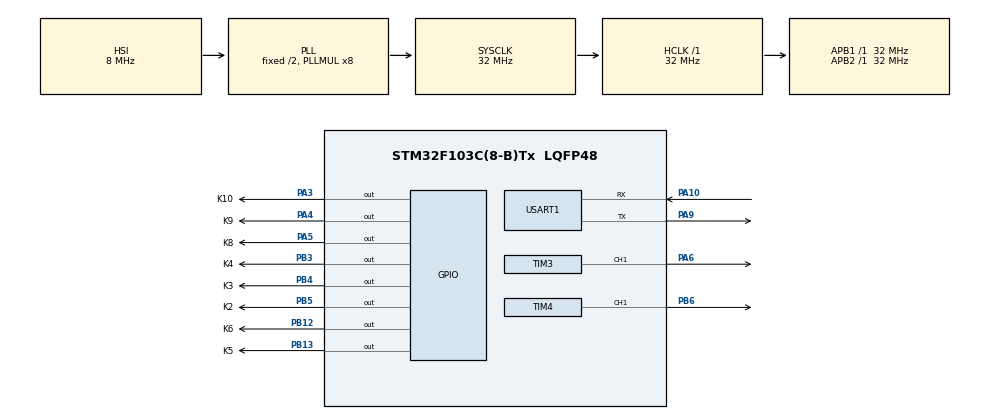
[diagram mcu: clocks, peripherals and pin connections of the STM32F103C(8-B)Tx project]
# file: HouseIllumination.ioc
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Mcu.Family=STM32F1
Mcu.Name=STM32F103C(8-B)Tx
Mcu.Package=LQFP48
NVIC.PriorityGroup=NVIC_PRIORITYGROUP_4
NVIC.RTC_IRQn=true\:0\:0\:false\:false\:true\:true
NVIC.TIM2_IRQn=true\:0\:0\:false\:false\:true\:true
NVIC.USART1_IRQn=true\:0\:0\:false\:false\:true\:true
PA10.Mode=Asynchronous
PA10.Signal=USART1_RX
PA13.Mode=Serial_Wire
PA13.Signal=SYS_JTMS-SWDIO
PA14.Mode=Serial_Wire
PA14.Signal=SYS_JTCK-SWCLK
PA3.GPIO_Label=K10
PA3.Signal=GPIO_Output
PA4.GPIO_Label=K9
PA4.Signal=GPIO_Output
PA5.GPIO_Label=K8
PA5.Signal=GPIO_Output
PA6.Signal=S_TIM3_CH1
PA9.Mode=Asynchronous
PA9.Signal=USART1_TX
PB12.GPIO_Label=K6
PB12.Signal=GPIO_Output
PB13.GPIO_Label=K5
PB13.Signal=GPIO_Output
PB3.GPIO_Label=K4
PB3.Signal=GPIO_Output
PB4.GPIO_Label=K3
PB4.Signal=GPIO_Output
PB5.GPIO_Label=K2
PB5.Signal=GPIO_Output
PB6.Signal=S_TIM4_CH1
PC14-OSC32_IN.Mode=LSE-External-Oscillator
PC14-OSC32_IN.Signal=RCC_OSC32_IN
PC15-OSC32_OUT.Mode=LSE-External-Oscillator
PC15-OSC32_OUT.Signal=RCC_OSC32_OUT
ProjectManager.HeapSize=0x200
ProjectManager.StackSize=0x400
ProjectManager.TargetToolchain=TrueSTUDIO
RCC.AHBFreq_Value=32000000
RCC.APB1Freq_Value=32000000
RCC.APB1TimFreq_Value=32000000
RCC.APB2Freq_Value=32000000
RCC.APB2TimFreq_Value=32000000
RCC.HCLKFreq_Value=32000000
RCC.PLLMUL=RCC_PLL_MUL8
RCC.RTCClockSelection=RCC_RTCCLKSOURCE_LSE
RCC.SYSCLKFreq_VALUE=32000000
RCC.SYSCLKSource=RCC_SYSCLKSOURCE_PLLCLK
RCC.USBFreq_Value=32000000
RTC.AutoPrediv=RTC_AUTO_1_SECOND
SH.S_TIM3_CH1.0=TIM3_CH1,PWM Generation1 CH1
SH.S_TIM4_CH1.0=TIM4_CH1,PWM Generation1 CH1
TIM2.Period=3199
TIM2.Prescaler=999
TIM3.Channel-PWM\ Generation1\ CH1=TIM_CHANNEL_1
TIM3.Period=319
TIM3.Prescaler=999
TIM3.Pulse-PWM\ Generation1\ CH1=159
TIM4.Channel-PWM\ Generation1\ CH1=TIM_CHANNEL_1
TIM4.OCPolarity_1=TIM_OCPOLARITY_HIGH
TIM4.Period=319
TIM4.Prescaler=999
TIM4.Pulse-PWM\ Generation1\ CH1=159
USART1.VirtualMode=VM_ASYNC
VP_RTC_VS_RTC_Activate.Mode=RTC_Enabled
VP_TIM2_VS_ClockSourceINT.Mode=Internal
VP_TIM3_VS_ClockSourceINT.Mode=Internal
VP_TIM4_VS_ClockSourceINT.Mode=Internal
board=HouseIllumination

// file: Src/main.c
/**
  ******************************************************************************
  * File Name          : main.c
  * Description        : Main program body
  ******************************************************************************
  ** This notice applies to any and all portions of this file
  * that are not between comment pairs USER CODE BEGIN and
  * USER CODE END. Other portions of this file, whether
  * inserted by the user or by software development tools
  * are owned by their respective copyright owners.
  *
  * COPYRIGHT(c) 2018 STMicroelectronics
  *
  * Redistribution and use in source and binary forms, with or without modification,
  * are permitted provided that the following conditions are met:
  *   1. Redistributions of source code must retain the above copyright notice,
  *      this list of conditions and the following disclaimer.
  *   2. Redistributions in binary form must reproduce the above copyright notice,
  *      this list of conditions and the following disclaimer in the documentation
  *      and/or other materials provided with the distribution.
  *   3. Neither the name of STMicroelectronics nor the names of its contributors
  *      may be used to endorse or promote products derived from this software
  *      without specific prior written permission.
  *
  * THIS SOFTWARE IS PROVIDED BY THE COPYRIGHT HOLDERS AND CONTRIBUTORS "AS IS"
  * AND ANY EXPRESS OR IMPLIED WARRANTIES, INCLUDING, BUT NOT LIMITED TO, THE
  * IMPLIED WARRANTIES OF MERCHANTABILITY AND FITNESS FOR A PARTICULAR PURPOSE ARE
  * DISCLAIMED. IN NO EVENT SHALL THE COPYRIGHT HOLDER OR CONTRIBUTORS BE LIABLE
  * FOR ANY DIRECT, INDIRECT, INCIDENTAL, SPECIAL, EXEMPLARY, OR CONSEQUENTIAL
  * DAMAGES (INCLUDING, BUT NOT LIMITED TO, PROCUREMENT OF SUBSTITUTE GOODS OR
  * SERVICES; LOSS OF USE, DATA, OR PROFITS; OR BUSINESS INTERRUPTION) HOWEVER
  * CAUSED AND ON ANY THEORY OF LIABILITY, WHETHER IN CONTRACT, STRICT LIABILITY,
  * OR TORT (INCLUDING NEGLIGENCE OR OTHERWISE) ARISING IN ANY WAY OUT OF THE USE
  * OF THIS SOFTWARE, EVEN IF ADVISED OF THE POSSIBILITY OF SUCH DAMAGE.
  *
  ******************************************************************************
  */

#include "main.h"
#include "stm32f1xx_hal.h"

/* USER CODE BEGIN Includes */
#include "stm32f1xx_hal_tim.h"
#include "stm32f1xx_hal_rtc.h"
#include "stm32f1xx_hal_uart.h"
/* USER CODE END Includes */

RTC_HandleTypeDef hrtc;

TIM_HandleTypeDef htim2;
TIM_HandleTypeDef htim3;
TIM_HandleTypeDef htim4;

UART_HandleTypeDef huart1;

/* USER CODE BEGIN PV */
/* Private variables ---------------------------------------------------------*/
int16_t PWM_pos1 = 160;
int16_t PWM_pos2 = 160;
int16_t PWM_inc1 = 20;
int16_t PWM_inc2 = -20;
uint8_t white_counter = 0;
uint8_t R_ON = 1;
uint8_t W_ON = 1;
/* USER CODE END PV */

void SystemClock_Config(void);
static void MX_GPIO_Init(void);
static void MX_USART1_UART_Init(void);
static void MX_RTC_Init(void);
static void MX_TIM2_Init(void);
static void MX_TIM3_Init(void);
static void MX_TIM4_Init(void);

void HAL_TIM_MspPostInit(TIM_HandleTypeDef *htim);

/* USER CODE BEGIN PFP */
/* Private function prototypes -----------------------------------------------*/

/* USER CODE END PFP */

/* USER CODE BEGIN 0 */

void HandleUARTCommand(char * CMD_String, int String_Length)
{
	HAL_UART_Transmit(&huart1, (uint8_t *)CMD_String, String_Length, 100);

	switch (CMD_String[0])
	{
		case 'y':
			if (CMD_String[1]=='0'){
				HAL_GPIO_WritePin(K3_GPIO_Port, K3_Pin, RESET);
				HAL_GPIO_WritePin(K5_GPIO_Port, K5_Pin, RESET);	//yellow
				HAL_GPIO_WritePin(K6_GPIO_Port, K6_Pin, RESET);
				HAL_GPIO_WritePin(K8_GPIO_Port, K8_Pin, RESET);
				__HAL_RTC_SECOND_DISABLE_IT(&hrtc, RTC_IT_SEC);
			}
			else{
				HAL_GPIO_TogglePin(K3_GPIO_Port,K3_Pin); //Yellow light on one side - ON
				HAL_GPIO_TogglePin(K5_GPIO_Port,K5_Pin);
				__HAL_RTC_SECOND_ENABLE_IT(&hrtc, RTC_IT_SEC);
			}
			break;

		case 'r':
			if (CMD_String[1]=='0'){
				HAL_TIM_PWM_Stop(&htim3,TIM_CHANNEL_1);
				HAL_TIM_PWM_Stop(&htim4,TIM_CHANNEL_1);
				R_ON = 0;
			}
			else{
				HAL_TIM_PWM_Start(&htim3,TIM_CHANNEL_1);
				HAL_TIM_PWM_Start(&htim4,TIM_CHANNEL_1);
				R_ON = 1;
			}
			break;

		case 'w':
			if (CMD_String[1]=='0'){
				W_ON = 0;
				HAL_GPIO_WritePin(K2_GPIO_Port,K2_Pin,RESET);
				HAL_GPIO_WritePin(K4_GPIO_Port,K4_Pin,RESET);
				HAL_GPIO_WritePin(K9_GPIO_Port,K9_Pin,RESET);
				HAL_GPIO_WritePin(K10_GPIO_Port,K10_Pin,RESET);
			}
			else{
				W_ON = 1;
			}
			break;

		default:
			break;
	}
}

/*K1 //red left
K2 //white left
K3 //yellow left1
K4 //white back
K5 //yellow left2
K6 //yellow right2
K7 //red right
K8 //yellow right1
K9 //white right
K10 //white front*/

void HAL_RTCEx_RTCEventCallback(RTC_HandleTypeDef *hrtc)
{
	HAL_GPIO_TogglePin(K3_GPIO_Port,K3_Pin);
	HAL_GPIO_TogglePin(K5_GPIO_Port,K5_Pin);	//yellow
	HAL_GPIO_TogglePin(K6_GPIO_Port,K6_Pin);
	HAL_GPIO_TogglePin(K8_GPIO_Port,K8_Pin);
}

void HAL_TIM_PeriodElapsedCallback(TIM_HandleTypeDef *htim)
{
	if (R_ON==1)
	{
		PWM_pos1 += PWM_inc1;
		if (PWM_pos1 > 320)
		{
			PWM_pos1 = 320;
			PWM_inc1 *= -1;
		}
		else if (PWM_pos1 <= 0)
		{
			PWM_pos1 = 1;
			PWM_inc1 *= -1;
		}

		PWM_pos2 += PWM_inc2;
		if (PWM_pos2 > 320)
		{
			PWM_pos2 = 320;
			PWM_inc2 *= -1;
		}
		else if (PWM_pos2 <= 0)
		{
			PWM_pos2 = 1;
			PWM_inc2 *= -1;
		}

		__HAL_TIM_SET_COMPARE(&htim3, TIM_CHANNEL_1, PWM_pos1 - 1);
		__HAL_TIM_SET_COMPARE(&htim4, TIM_CHANNEL_1, PWM_pos2 - 1);
	}

	if (htim->Instance==TIM2 && W_ON==1)
	{
		switch (white_counter)
		{
		case 0:
			HAL_GPIO_WritePin(K2_GPIO_Port,K2_Pin,SET);	//white left
			white_counter++;
			break;
		case 1:
			HAL_GPIO_WritePin(K2_GPIO_Port,K2_Pin,RESET);
			HAL_GPIO_WritePin(K4_GPIO_Port,K4_Pin,SET);	//white back
			white_counter++;
			break;
		case 2:
			HAL_GPIO_WritePin(K4_GPIO_Port,K4_Pin,RESET);
			HAL_GPIO_WritePin(K9_GPIO_Port,K9_Pin,SET);	//white right
			white_counter++;
			break;
		case 3:
			HAL_GPIO_WritePin(K9_GPIO_Port,K9_Pin,RESET);
			HAL_GPIO_WritePin(K10_GPIO_Port,K10_Pin,SET);	//white front
			white_counter++;
			break;
		default:
			HAL_GPIO_WritePin(K10_GPIO_Port,K10_Pin,RESET);
			white_counter = 0;
			break;
		}
	}
}
/* USER CODE END 0 */

int main(void)
{

  /* MCU Configuration----------------------------------------------------------*/

  /* Reset of all peripherals, Initializes the Flash interface and the Systick. */
  HAL_Init();

  /* Configure the system clock */
  SystemClock_Config();

  /* Initialize all configured peripherals */
  MX_GPIO_Init();
  MX_USART1_UART_Init();
  MX_RTC_Init();
  MX_TIM2_Init();
  MX_TIM3_Init();
  MX_TIM4_Init();

  /* USER CODE BEGIN 2 */
  HAL_TIM_Base_Start_IT(&htim2);
  HAL_TIM_PWM_Start(&htim3,TIM_CHANNEL_1);
  HAL_TIM_PWM_Start(&htim4,TIM_CHANNEL_1);
  __HAL_RTC_SECOND_ENABLE_IT(&hrtc, RTC_IT_SEC);
  __HAL_UART_ENABLE_IT(&huart1, UART_IT_RXNE);

  HAL_GPIO_TogglePin(K3_GPIO_Port,K3_Pin); //Yellow light on one side - ON
  HAL_GPIO_TogglePin(K5_GPIO_Port,K5_Pin);
  /* USER CODE END 2 */

  /* Infinite loop */
  while (1)
  {

  }

}

/** System Clock Configuration
*/
void SystemClock_Config(void)
{

  RCC_OscInitTypeDef RCC_OscInitStruct;
  RCC_ClkInitTypeDef RCC_ClkInitStruct;
  RCC_PeriphCLKInitTypeDef PeriphClkInit;

    /**Initializes the CPU, AHB and APB busses clocks
    */
  RCC_OscInitStruct.OscillatorType = RCC_OSCILLATORTYPE_HSI|RCC_OSCILLATORTYPE_LSE;
  RCC_OscInitStruct.LSEState = RCC_LSE_ON;
  RCC_OscInitStruct.HSIState = RCC_HSI_ON;
  RCC_OscInitStruct.HSICalibrationValue = 16;
  RCC_OscInitStruct.PLL.PLLState = RCC_PLL_ON;
  RCC_OscInitStruct.PLL.PLLSource = RCC_PLLSOURCE_HSI_DIV2;
  RCC_OscInitStruct.PLL.PLLMUL = RCC_PLL_MUL8;
  if (HAL_RCC_OscConfig(&RCC_OscInitStruct) != HAL_OK)
  {
    _Error_Handler(__FILE__, __LINE__);
  }

    /**Initializes the CPU, AHB and APB busses clocks
    */
  RCC_ClkInitStruct.ClockType = RCC_CLOCKTYPE_HCLK|RCC_CLOCKTYPE_SYSCLK
                              |RCC_CLOCKTYPE_PCLK1|RCC_CLOCKTYPE_PCLK2;
  RCC_ClkInitStruct.SYSCLKSource = RCC_SYSCLKSOURCE_PLLCLK;
  RCC_ClkInitStruct.AHBCLKDivider = RCC_SYSCLK_DIV1;
  RCC_ClkInitStruct.APB1CLKDivider = RCC_HCLK_DIV1;
  RCC_ClkInitStruct.APB2CLKDivider = RCC_HCLK_DIV1;

  if (HAL_RCC_ClockConfig(&RCC_ClkInitStruct, FLASH_LATENCY_1) != HAL_OK)
  {
    _Error_Handler(__FILE__, __LINE__);
  }

  PeriphClkInit.PeriphClockSelection = RCC_PERIPHCLK_RTC;
  PeriphClkInit.RTCClockSelection = RCC_RTCCLKSOURCE_LSE;
  if (HAL_RCCEx_PeriphCLKConfig(&PeriphClkInit) != HAL_OK)
  {
    _Error_Handler(__FILE__, __LINE__);
  }

    /**Configure the Systick interrupt time
    */
  HAL_SYSTICK_Config(HAL_RCC_GetHCLKFreq()/1000);

    /**Configure the Systick
    */
  HAL_SYSTICK_CLKSourceConfig(SYSTICK_CLKSOURCE_HCLK);

  /* SysTick_IRQn interrupt configuration */
  HAL_NVIC_SetPriority(SysTick_IRQn, 0, 0);
}

/* RTC init function */
static void MX_RTC_Init(void)
{

    /**Initialize RTC Only
    */
  hrtc.Instance = RTC;
  hrtc.Init.AsynchPrediv = RTC_AUTO_1_SECOND;
  hrtc.Init.OutPut = RTC_OUTPUTSOURCE_ALARM;
  if (HAL_RTC_Init(&hrtc) != HAL_OK)
  {
    _Error_Handler(__FILE__, __LINE__);
  }

}

/* TIM2 init function */
static void MX_TIM2_Init(void)
{

  TIM_ClockConfigTypeDef sClockSourceConfig;
  TIM_MasterConfigTypeDef sMasterConfig;

  htim2.Instance = TIM2;
  htim2.Init.Prescaler = 999;
  htim2.Init.CounterMode = TIM_COUNTERMODE_UP;
  htim2.Init.Period = 3199;
  htim2.Init.ClockDivision = TIM_CLOCKDIVISION_DIV1;
  htim2.Init.AutoReloadPreload = TIM_AUTORELOAD_PRELOAD_DISABLE;
  if (HAL_TIM_Base_Init(&htim2) != HAL_OK)
  {
    _Error_Handler(__FILE__, __LINE__);
  }

  sClockSourceConfig.ClockSource = TIM_CLOCKSOURCE_INTERNAL;
  if (HAL_TIM_ConfigClockSource(&htim2, &sClockSourceConfig) != HAL_OK)
  {
    _Error_Handler(__FILE__, __LINE__);
  }

  sMasterConfig.MasterOutputTrigger = TIM_TRGO_RESET;
  sMasterConfig.MasterSlaveMode = TIM_MASTERSLAVEMODE_DISABLE;
  if (HAL_TIMEx_MasterConfigSynchronization(&htim2, &sMasterConfig) != HAL_OK)
  {
    _Error_Handler(__FILE__, __LINE__);
  }

}

/* TIM3 init function */
static void MX_TIM3_Init(void)
{

  TIM_ClockConfigTypeDef sClockSourceConfig;
  TIM_MasterConfigTypeDef sMasterConfig;
  TIM_OC_InitTypeDef sConfigOC;

  htim3.Instance = TIM3;
  htim3.Init.Prescaler = 999;
  htim3.Init.CounterMode = TIM_COUNTERMODE_UP;
  htim3.Init.Period = 319;
  htim3.Init.ClockDivision = TIM_CLOCKDIVISION_DIV1;
  htim3.Init.AutoReloadPreload = TIM_AUTORELOAD_PRELOAD_DISABLE;
  if (HAL_TIM_Base_Init(&htim3) != HAL_OK)
  {
    _Error_Handler(__FILE__, __LINE__);
  }

  sClockSourceConfig.ClockSource = TIM_CLOCKSOURCE_INTERNAL;
  if (HAL_TIM_ConfigClockSource(&htim3, &sClockSourceConfig) != HAL_OK)
  {
    _Error_Handler(__FILE__, __LINE__);
  }

  if (HAL_TIM_PWM_Init(&htim3) != HAL_OK)
  {
    _Error_Handler(__FILE__, __LINE__);
  }

  sMasterConfig.MasterOutputTrigger = TIM_TRGO_RESET;
  sMasterConfig.MasterSlaveMode = TIM_MASTERSLAVEMODE_DISABLE;
  if (HAL_TIMEx_MasterConfigSynchronization(&htim3, &sMasterConfig) != HAL_OK)
  {
    _Error_Handler(__FILE__, __LINE__);
  }

  sConfigOC.OCMode = TIM_OCMODE_PWM1;
  sConfigOC.Pulse = 159;
  sConfigOC.OCPolarity = TIM_OCPOLARITY_HIGH;
  sConfigOC.OCFastMode = TIM_OCFAST_DISABLE;
  if (HAL_TIM_PWM_ConfigChannel(&htim3, &sConfigOC, TIM_CHANNEL_1) != HAL_OK)
  {
    _Error_Handler(__FILE__, __LINE__);
  }

  HAL_TIM_MspPostInit(&htim3);

}

/* TIM4 init function */
static void MX_TIM4_Init(void)
{

  TIM_ClockConfigTypeDef sClockSourceConfig;
  TIM_MasterConfigTypeDef sMasterConfig;
  TIM_OC_InitTypeDef sConfigOC;

  htim4.Instance = TIM4;
  htim4.Init.Prescaler = 999;
  htim4.Init.CounterMode = TIM_COUNTERMODE_UP;
  htim4.Init.Period = 319;
  htim4.Init.ClockDivision = TIM_CLOCKDIVISION_DIV1;
  htim4.Init.AutoReloadPreload = TIM_AUTORELOAD_PRELOAD_DISABLE;
  if (HAL_TIM_Base_Init(&htim4) != HAL_OK)
  {
    _Error_Handler(__FILE__, __LINE__);
  }

  sClockSourceConfig.ClockSource = TIM_CLOCKSOURCE_INTERNAL;
  if (HAL_TIM_ConfigClockSource(&htim4, &sClockSourceConfig) != HAL_OK)
  {
    _Error_Handler(__FILE__, __LINE__);
  }

  if (HAL_TIM_PWM_Init(&htim4) != HAL_OK)
  {
    _Error_Handler(__FILE__, __LINE__);
  }

  sMasterConfig.MasterOutputTrigger = TIM_TRGO_RESET;
  sMasterConfig.MasterSlaveMode = TIM_MASTERSLAVEMODE_DISABLE;
  if (HAL_TIMEx_MasterConfigSynchronization(&htim4, &sMasterConfig) != HAL_OK)
  {
    _Error_Handler(__FILE__, __LINE__);
  }

  sConfigOC.OCMode = TIM_OCMODE_PWM1;
  sConfigOC.Pulse = 159;
  sConfigOC.OCPolarity = TIM_OCPOLARITY_HIGH;
  sConfigOC.OCFastMode = TIM_OCFAST_DISABLE;
  if (HAL_TIM_PWM_ConfigChannel(&htim4, &sConfigOC, TIM_CHANNEL_1) != HAL_OK)
  {
    _Error_Handler(__FILE__, __LINE__);
  }

  HAL_TIM_MspPostInit(&htim4);

}

/* USART1 init function */
static void MX_USART1_UART_Init(void)
{

  huart1.Instance = USART1;
  huart1.Init.BaudRate = 115200;
  huart1.Init.WordLength = UART_WORDLENGTH_8B;
  huart1.Init.StopBits = UART_STOPBITS_1;
  huart1.Init.Parity = UART_PARITY_NONE;
  huart1.Init.Mode = UART_MODE_TX_RX;
  huart1.Init.HwFlowCtl = UART_HWCONTROL_NONE;
  huart1.Init.OverSampling = UART_OVERSAMPLING_16;
  if (HAL_UART_Init(&huart1) != HAL_OK)
  {
    _Error_Handler(__FILE__, __LINE__);
  }

}

/** Configure pins as
        * Analog
        * Input
        * Output
        * EVENT_OUT
        * EXTI
        * Free pins are configured automatically as Analog (this feature is enabled through
        * the Code Generation settings)
*/
static void MX_GPIO_Init(void)
{

  GPIO_InitTypeDef GPIO_InitStruct;

  /* GPIO Ports Clock Enable */
  __HAL_RCC_GPIOC_CLK_ENABLE();
  __HAL_RCC_GPIOD_CLK_ENABLE();
  __HAL_RCC_GPIOA_CLK_ENABLE();
  __HAL_RCC_GPIOB_CLK_ENABLE();

  /*Configure GPIO pin Output Level */
  HAL_GPIO_WritePin(GPIOA, K10_Pin|K9_Pin|K8_Pin, GPIO_PIN_RESET);

  /*Configure GPIO pin Output Level */
  HAL_GPIO_WritePin(GPIOB, K6_Pin|K5_Pin|K4_Pin|K3_Pin
                          |K2_Pin, GPIO_PIN_RESET);

  /*Configure GPIO pin : PC13 */
  GPIO_InitStruct.Pin = GPIO_PIN_13;
  GPIO_InitStruct.Mode = GPIO_MODE_ANALOG;
  HAL_GPIO_Init(GPIOC, &GPIO_InitStruct);

  /*Configure GPIO pins : PD0 PD1 */
  GPIO_InitStruct.Pin = GPIO_PIN_0|GPIO_PIN_1;
  GPIO_InitStruct.Mode = GPIO_MODE_ANALOG;
  HAL_GPIO_Init(GPIOD, &GPIO_InitStruct);

  /*Configure GPIO pins : PA0 PA1 PA2 PA7
                           PA8 PA11 PA12 PA15 */
  GPIO_InitStruct.Pin = GPIO_PIN_0|GPIO_PIN_1|GPIO_PIN_2|GPIO_PIN_7
                          |GPIO_PIN_8|GPIO_PIN_11|GPIO_PIN_12|GPIO_PIN_15;
  GPIO_InitStruct.Mode = GPIO_MODE_ANALOG;
  HAL_GPIO_Init(GPIOA, &GPIO_InitStruct);

  /*Configure GPIO pins : K10_Pin K9_Pin K8_Pin */
  GPIO_InitStruct.Pin = K10_Pin|K9_Pin|K8_Pin;
  GPIO_InitStruct.Mode = GPIO_MODE_OUTPUT_PP;
  GPIO_InitStruct.Speed = GPIO_SPEED_FREQ_LOW;
  HAL_GPIO_Init(GPIOA, &GPIO_InitStruct);

  /*Configure GPIO pins : PB0 PB1 PB2 PB10
                           PB11 PB14 PB15 PB7
                           PB8 PB9 */
  GPIO_InitStruct.Pin = GPIO_PIN_0|GPIO_PIN_1|GPIO_PIN_2|GPIO_PIN_10
                          |GPIO_PIN_11|GPIO_PIN_14|GPIO_PIN_15|GPIO_PIN_7
                          |GPIO_PIN_8|GPIO_PIN_9;
  GPIO_InitStruct.Mode = GPIO_MODE_ANALOG;
  HAL_GPIO_Init(GPIOB, &GPIO_InitStruct);

  /*Configure GPIO pins : K6_Pin K5_Pin K4_Pin K3_Pin
                           K2_Pin */
  GPIO_InitStruct.Pin = K6_Pin|K5_Pin|K4_Pin|K3_Pin
                          |K2_Pin;
  GPIO_InitStruct.Mode = GPIO_MODE_OUTPUT_PP;
  GPIO_InitStruct.Speed = GPIO_SPEED_FREQ_LOW;
  HAL_GPIO_Init(GPIOB, &GPIO_InitStruct);

  /*Configure peripheral I/O remapping */
  __HAL_AFIO_REMAP_PD01_ENABLE();

}

void _Error_Handler(char * file, int line)
{
  while(1)
  {
  }
}

/************************ (C) COPYRIGHT STMicroelectronics *****END OF FILE****/
